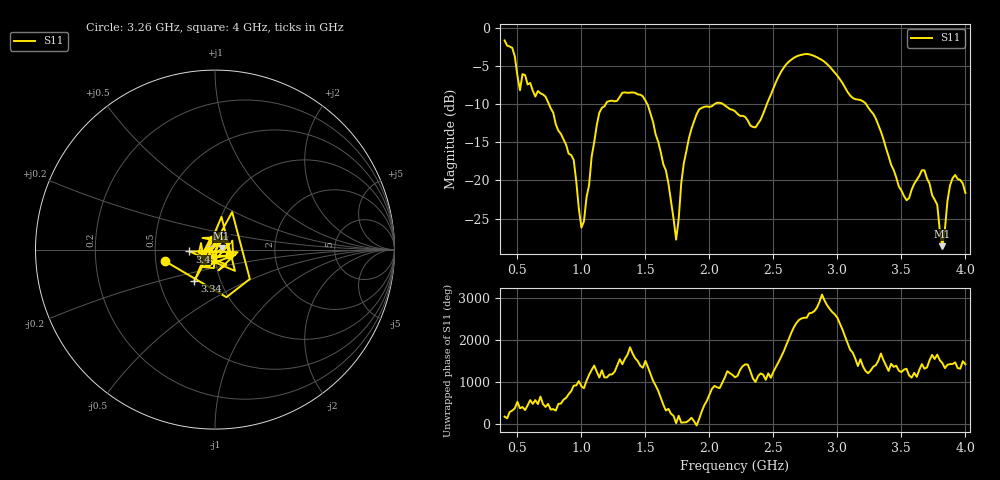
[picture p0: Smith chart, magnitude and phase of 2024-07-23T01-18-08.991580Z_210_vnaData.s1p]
!Created with skrf (http://scikit-rf.org).
# Hz S RI R 50.0
!freq ReS11 ImS11
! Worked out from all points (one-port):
!   181 points, 400 MHz to 4 GHz, reference 50 ohm
!   lowest |S11| = -28.6 dB at 3.82 GHz (marker M1), VSWR 1.08, Z = 53.8 + j0.701 ohm
!   |S11| at or under -10 dB: 745.9 MHz to 1.19 GHz (444 MHz wide, 45.9 % of centre); 1.515 GHz to 2.04 GHz (525.4 MHz wide, 29.6 % of centre); 3.224 GHz to end of sweep (the widest 3 of 4)
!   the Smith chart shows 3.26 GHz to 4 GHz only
!   S11 on the Smith chart (normalised r, x): 3.26 GHz: 0.56, -0.08; 3.34 GHz: 0.75, -0.27; 3.4 GHz: 0.75, -0.02; 4 GHz: 1.17, -0.06
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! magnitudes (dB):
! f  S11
! 400 MHz  -1.7
! 460 MHz  -2.6
! 520 MHz  -8.2
! 720 MHz  -9.0
! 860 MHz  -14.6
! 940 MHz  -17.3
! 1 GHz  -26.2
! 1.14 GHz  -11.1
! 1.3 GHz  -9.0
! 1.52 GHz  -10.2
! 1.66 GHz  -18.7
! 1.74 GHz  -27.7
! 1.76 GHz  -25.1
! 1.8 GHz  -17.8
! 1.92 GHz  -10.7
! 2.2 GHz  -10.9
! 2.36 GHz  -13.1
! 2.66 GHz  -3.9
! 3.1 GHz  -8.9
! 3.26 GHz  -10.9
! 3.34 GHz  -13.6
! 3.4 GHz  -16.8
! 3.56 GHz  -22.3
! 3.68 GHz  -18.7
! 3.78 GHz  -23.2
! 3.82 GHz  -28.6
! 3.9 GHz  -19.7
! 4 GHz  -21.6
